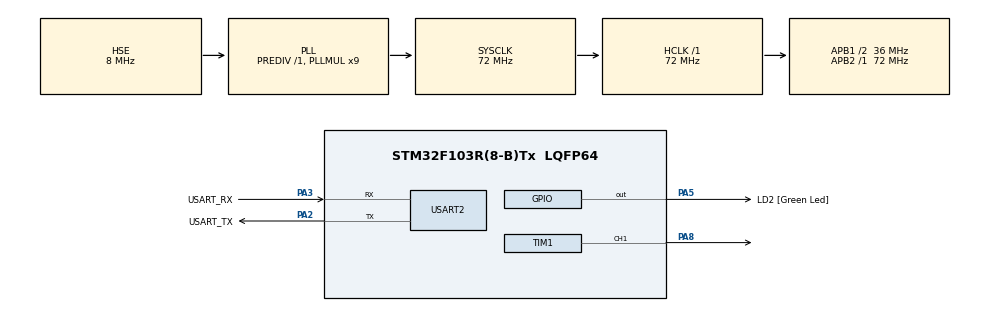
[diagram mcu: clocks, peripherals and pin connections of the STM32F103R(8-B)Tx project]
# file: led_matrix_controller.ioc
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Dma.Request0=TIM1_CH1
Dma.Request1=USART2_RX
Dma.Request2=USART2_TX
Dma.TIM1_CH1.0.Direction=DMA_MEMORY_TO_PERIPH
Dma.TIM1_CH1.0.Instance=DMA1_Channel2
Dma.TIM1_CH1.0.MemDataAlignment=DMA_MDATAALIGN_HALFWORD
Dma.TIM1_CH1.0.MemInc=DMA_MINC_ENABLE
Dma.TIM1_CH1.0.Mode=DMA_NORMAL
Dma.TIM1_CH1.0.PeriphDataAlignment=DMA_PDATAALIGN_HALFWORD
Dma.TIM1_CH1.0.PeriphInc=DMA_PINC_DISABLE
Dma.TIM1_CH1.0.Priority=DMA_PRIORITY_LOW
Dma.USART2_RX.1.Direction=DMA_PERIPH_TO_MEMORY
Dma.USART2_RX.1.Instance=DMA1_Channel6
Dma.USART2_RX.1.MemDataAlignment=DMA_MDATAALIGN_BYTE
Dma.USART2_RX.1.MemInc=DMA_MINC_ENABLE
Dma.USART2_RX.1.Mode=DMA_CIRCULAR
Dma.USART2_RX.1.PeriphDataAlignment=DMA_PDATAALIGN_BYTE
Dma.USART2_RX.1.PeriphInc=DMA_PINC_DISABLE
Dma.USART2_RX.1.Priority=DMA_PRIORITY_LOW
Dma.USART2_TX.2.Direction=DMA_MEMORY_TO_PERIPH
Dma.USART2_TX.2.Instance=DMA1_Channel7
Dma.USART2_TX.2.MemDataAlignment=DMA_MDATAALIGN_BYTE
Dma.USART2_TX.2.MemInc=DMA_MINC_ENABLE
Dma.USART2_TX.2.Mode=DMA_NORMAL
Dma.USART2_TX.2.PeriphDataAlignment=DMA_PDATAALIGN_BYTE
Dma.USART2_TX.2.PeriphInc=DMA_PINC_DISABLE
Dma.USART2_TX.2.Priority=DMA_PRIORITY_LOW
Mcu.Family=STM32F1
Mcu.Name=STM32F103R(8-B)Tx
Mcu.Package=LQFP64
NVIC.DMA1_Channel2_IRQn=true\:0\:0\:false\:false\:true\:false\:true\:true
NVIC.DMA1_Channel6_IRQn=true\:0\:0\:false\:false\:true\:false\:true\:true
NVIC.DMA1_Channel7_IRQn=true\:0\:0\:false\:false\:true\:false\:true\:true
NVIC.PriorityGroup=NVIC_PRIORITYGROUP_4
NVIC.USART2_IRQn=true\:0\:0\:false\:false\:true\:true\:true\:true
PA13.GPIO_Label=TMS
PA13.Mode=Serial_Wire
PA13.Signal=SYS_JTMS-SWDIO
PA14.GPIO_Label=TCK
PA14.Mode=Serial_Wire
PA14.Signal=SYS_JTCK-SWCLK
PA2.GPIO_Label=USART_TX
PA2.GPIO_Mode=GPIO_MODE_AF_PP
PA2.GPIO_PuPd=GPIO_NOPULL
PA2.GPIO_Speed=GPIO_SPEED_FREQ_LOW
PA2.Mode=Asynchronous
PA2.Signal=USART2_TX
PA3.GPIO_Label=USART_RX
PA3.GPIO_Mode=GPIO_MODE_AF_PP
PA3.GPIO_PuPd=GPIO_NOPULL
PA3.GPIO_Speed=GPIO_SPEED_FREQ_LOW
PA3.Mode=Asynchronous
PA3.Signal=USART2_RX
PA5.GPIO_Label=LD2 [Green Led]
PA5.GPIO_ModeDefaultOutputPP=GPIO_MODE_OUTPUT_PP
PA5.GPIO_PuPd=GPIO_NOPULL
PA5.GPIO_Speed=GPIO_SPEED_FREQ_LOW
PA5.Signal=GPIO_Output
PA8.Signal=S_TIM1_CH1
PB3.GPIO_Label=SWO
PB3.Signal=SYS_JTDO-TRACESWO
PC14-OSC32_IN.Mode=LSE-External-Oscillator
PC14-OSC32_IN.Signal=RCC_OSC32_IN
PC15-OSC32_OUT.Mode=LSE-External-Oscillator
PC15-OSC32_OUT.Signal=RCC_OSC32_OUT
PD0-OSC_IN.Mode=HSE-External-Clock-Source
PD0-OSC_IN.Signal=RCC_OSC_IN
PD1-OSC_OUT.Mode=HSE-External-Clock-Source
PD1-OSC_OUT.Signal=RCC_OSC_OUT
ProjectManager.HeapSize=0x200
ProjectManager.StackSize=0x400
ProjectManager.TargetToolchain=Makefile
RCC.AHBFreq_Value=72000000
RCC.APB1CLKDivider=RCC_HCLK_DIV2
RCC.APB1Freq_Value=36000000
RCC.APB1TimFreq_Value=72000000
RCC.APB2Freq_Value=72000000
RCC.APB2TimFreq_Value=72000000
RCC.HCLKFreq_Value=72000000
RCC.PLLMUL=RCC_PLL_MUL9
RCC.PLLSourceVirtual=RCC_PLLSOURCE_HSE
RCC.RTCClockSelection=RCC_RTCCLKSOURCE_LSE
RCC.SYSCLKFreq_VALUE=72000000
RCC.SYSCLKSource=RCC_SYSCLKSOURCE_PLLCLK
RCC.USBFreq_Value=72000000
SH.S_TIM1_CH1.0=TIM1_CH1,PWM Generation1 CH1
TIM1.Channel-PWM\ Generation1\ CH1=TIM_CHANNEL_1
TIM1.Period=90-1
USART2.VirtualMode=VM_ASYNC
VP_TIM1_VS_ClockSourceINT.Mode=Internal
board=NUCLEO-F103RB

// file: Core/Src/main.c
/* USER CODE BEGIN Header */
/**
 ******************************************************************************
 * @file           : main.c
 * @brief          : Main program body
 ******************************************************************************
 * @attention
 *
 * Copyright (c) 2023 STMicroelectronics.
 * All rights reserved.
 *
 * This software is licensed under terms that can be found in the LICENSE file
 * in the root directory of this software component.
 * If no LICENSE file comes with this software, it is provided AS-IS.
 *
 ******************************************************************************
 */
/* USER CODE END Header */
#include "main.h"

/* USER CODE BEGIN Includes */
#include "serial_interface.h"

#include <stdlib.h>
/* USER CODE END Includes */

/* USER CODE BEGIN PD */
#define MAX_LED 2

const uint8_t MATRIX_SHAPE[3] = {16, 4, 4}; // height, width, deptth
const uint8_t TOWERS_SHAPE[2] = {1, 1};     // rows, aisles

// LED data transfer times
#define DUTY_CYCLE 1250 // ns
#define T0H 280         // ns
#define T1H 650         // ns
#define RES 140         // us
/* USER CODE END PD */

TIM_HandleTypeDef htim1;
DMA_HandleTypeDef hdma_tim1_ch1;

UART_HandleTypeDef huart2;
DMA_HandleTypeDef hdma_usart2_rx;
DMA_HandleTypeDef hdma_usart2_tx;

/* USER CODE BEGIN PV */
int quitFlag = 0;

SERIAL_INTERFACE ser;

uint8_t LED_Data[MAX_LED][3];
int dataSentFlag = 0;

// data values
int one;
int zero;
int reset;
/* USER CODE END PV */

void SystemClock_Config(void);
static void MX_GPIO_Init(void);
static void MX_DMA_Init(void);
static void MX_USART2_UART_Init(void);
static void MX_TIM1_Init(void);
/* USER CODE BEGIN PFP */
void SerialInterface_Init(void);
void SerialInterface_Free(void);
void WaitForConnection(void);
void HAL_TIM_PulseFinishedCallback(TIM_HandleTypeDef);
void HAL_UART_RxCpltCallback(UART_HandleTypeDef*);
void Transmit(uint8_t*, uint16_t);
int Transmit_WaitForConfirm(uint8_t*, uint16_t);
void ClearTXBuffer();
void ClearRXBuffer(UART_HandleTypeDef *);
void ProcessCommand(uint8_t *);
void ProcessData(uint8_t *);
void Blink(int);
void SendSpecs(void);
void CalculateDataValues(void);
void PWMSend_LEDs(void);
void Set_LED(uint16_t, uint8_t, uint8_t, uint8_t);
void Set_LEDs(uint8_t, uint8_t, uint8_t);
void Reset_LEDs(void);
/* USER CODE END PFP */

int main(void)
{

  /* MCU Configuration--------------------------------------------------------*/

  /* Reset of all peripherals, Initializes the Flash interface and the Systick. */
  HAL_Init();

  /* Configure the system clock */
  SystemClock_Config();

  /* Initialize all configured peripherals */
  MX_GPIO_Init();
  MX_DMA_Init();
  MX_USART2_UART_Init();
  MX_TIM1_Init();
  /* USER CODE BEGIN 2 */
  CalculateDataValues();
  SerialInterface_Init();

  HAL_UART_Receive_DMA(&huart2, ser.rx_command_buf, ser.command_size);

  WaitForConnection();
  Blink(5);

  /* USER CODE END 2 */

  /* Infinite loop */
  /* USER CODE BEGIN WHILE */
  while (!quitFlag)
  {
    PWMSend_LEDs();
    /* USER CODE END WHILE */

    /* USER CODE BEGIN 3 */
  }

  HAL_UART_DMAStop(&huart2);
  SerialInterface_Free();

  return 0;
  /* USER CODE END 3 */
}

void SystemClock_Config(void)
{
  RCC_OscInitTypeDef RCC_OscInitStruct = {0};
  RCC_ClkInitTypeDef RCC_ClkInitStruct = {0};

  /** Initializes the RCC Oscillators according to the specified parameters
  * in the RCC_OscInitTypeDef structure.
  */
  RCC_OscInitStruct.OscillatorType = RCC_OSCILLATORTYPE_HSE;
  RCC_OscInitStruct.HSEState = RCC_HSE_BYPASS;
  RCC_OscInitStruct.HSEPredivValue = RCC_HSE_PREDIV_DIV1;
  RCC_OscInitStruct.HSIState = RCC_HSI_ON;
  RCC_OscInitStruct.PLL.PLLState = RCC_PLL_ON;
  RCC_OscInitStruct.PLL.PLLSource = RCC_PLLSOURCE_HSE;
  RCC_OscInitStruct.PLL.PLLMUL = RCC_PLL_MUL9;
  if (HAL_RCC_OscConfig(&RCC_OscInitStruct) != HAL_OK)
  {
    Error_Handler();
  }

  /** Initializes the CPU, AHB and APB buses clocks
  */
  RCC_ClkInitStruct.ClockType = RCC_CLOCKTYPE_HCLK|RCC_CLOCKTYPE_SYSCLK
                              |RCC_CLOCKTYPE_PCLK1|RCC_CLOCKTYPE_PCLK2;
  RCC_ClkInitStruct.SYSCLKSource = RCC_SYSCLKSOURCE_PLLCLK;
  RCC_ClkInitStruct.AHBCLKDivider = RCC_SYSCLK_DIV1;
  RCC_ClkInitStruct.APB1CLKDivider = RCC_HCLK_DIV2;
  RCC_ClkInitStruct.APB2CLKDivider = RCC_HCLK_DIV1;

  if (HAL_RCC_ClockConfig(&RCC_ClkInitStruct, FLASH_LATENCY_2) != HAL_OK)
  {
    Error_Handler();
  }
}

static void MX_TIM1_Init(void)
{

  TIM_ClockConfigTypeDef sClockSourceConfig = {0};
  TIM_MasterConfigTypeDef sMasterConfig = {0};
  TIM_OC_InitTypeDef sConfigOC = {0};
  TIM_BreakDeadTimeConfigTypeDef sBreakDeadTimeConfig = {0};

  htim1.Instance = TIM1;
  htim1.Init.Prescaler = 0;
  htim1.Init.CounterMode = TIM_COUNTERMODE_UP;
  htim1.Init.Period = 90-1;
  htim1.Init.ClockDivision = TIM_CLOCKDIVISION_DIV1;
  htim1.Init.RepetitionCounter = 0;
  htim1.Init.AutoReloadPreload = TIM_AUTORELOAD_PRELOAD_DISABLE;
  if (HAL_TIM_Base_Init(&htim1) != HAL_OK)
  {
    Error_Handler();
  }
  sClockSourceConfig.ClockSource = TIM_CLOCKSOURCE_INTERNAL;
  if (HAL_TIM_ConfigClockSource(&htim1, &sClockSourceConfig) != HAL_OK)
  {
    Error_Handler();
  }
  if (HAL_TIM_PWM_Init(&htim1) != HAL_OK)
  {
    Error_Handler();
  }
  sMasterConfig.MasterOutputTrigger = TIM_TRGO_RESET;
  sMasterConfig.MasterSlaveMode = TIM_MASTERSLAVEMODE_DISABLE;
  if (HAL_TIMEx_MasterConfigSynchronization(&htim1, &sMasterConfig) != HAL_OK)
  {
    Error_Handler();
  }
  sConfigOC.OCMode = TIM_OCMODE_PWM1;
  sConfigOC.Pulse = 0;
  sConfigOC.OCPolarity = TIM_OCPOLARITY_HIGH;
  sConfigOC.OCNPolarity = TIM_OCNPOLARITY_HIGH;
  sConfigOC.OCFastMode = TIM_OCFAST_DISABLE;
  sConfigOC.OCIdleState = TIM_OCIDLESTATE_RESET;
  sConfigOC.OCNIdleState = TIM_OCNIDLESTATE_RESET;
  if (HAL_TIM_PWM_ConfigChannel(&htim1, &sConfigOC, TIM_CHANNEL_1) != HAL_OK)
  {
    Error_Handler();
  }
  sBreakDeadTimeConfig.OffStateRunMode = TIM_OSSR_DISABLE;
  sBreakDeadTimeConfig.OffStateIDLEMode = TIM_OSSI_DISABLE;
  sBreakDeadTimeConfig.LockLevel = TIM_LOCKLEVEL_OFF;
  sBreakDeadTimeConfig.DeadTime = 0;
  sBreakDeadTimeConfig.BreakState = TIM_BREAK_DISABLE;
  sBreakDeadTimeConfig.BreakPolarity = TIM_BREAKPOLARITY_HIGH;
  sBreakDeadTimeConfig.AutomaticOutput = TIM_AUTOMATICOUTPUT_DISABLE;
  if (HAL_TIMEx_ConfigBreakDeadTime(&htim1, &sBreakDeadTimeConfig) != HAL_OK)
  {
    Error_Handler();
  }
  HAL_TIM_MspPostInit(&htim1);

}

static void MX_USART2_UART_Init(void)
{

  huart2.Instance = USART2;
  huart2.Init.BaudRate = 115200;
  huart2.Init.WordLength = UART_WORDLENGTH_8B;
  huart2.Init.StopBits = UART_STOPBITS_1;
  huart2.Init.Parity = UART_PARITY_NONE;
  huart2.Init.Mode = UART_MODE_TX_RX;
  huart2.Init.HwFlowCtl = UART_HWCONTROL_NONE;
  huart2.Init.OverSampling = UART_OVERSAMPLING_16;
  if (HAL_UART_Init(&huart2) != HAL_OK)
  {
    Error_Handler();
  }

}

static void MX_DMA_Init(void)
{

  /* DMA controller clock enable */
  __HAL_RCC_DMA1_CLK_ENABLE();

  /* DMA interrupt init */
  /* DMA1_Channel2_IRQn interrupt configuration */
  HAL_NVIC_SetPriority(DMA1_Channel2_IRQn, 0, 0);
  HAL_NVIC_EnableIRQ(DMA1_Channel2_IRQn);
  /* DMA1_Channel6_IRQn interrupt configuration */
  HAL_NVIC_SetPriority(DMA1_Channel6_IRQn, 0, 0);
  HAL_NVIC_EnableIRQ(DMA1_Channel6_IRQn);
  /* DMA1_Channel7_IRQn interrupt configuration */
  HAL_NVIC_SetPriority(DMA1_Channel7_IRQn, 0, 0);
  HAL_NVIC_EnableIRQ(DMA1_Channel7_IRQn);

}

static void MX_GPIO_Init(void)
{
  GPIO_InitTypeDef GPIO_InitStruct = {0};

  /* GPIO Ports Clock Enable */
  __HAL_RCC_GPIOC_CLK_ENABLE();
  __HAL_RCC_GPIOD_CLK_ENABLE();
  __HAL_RCC_GPIOA_CLK_ENABLE();
  __HAL_RCC_GPIOB_CLK_ENABLE();

  /*Configure GPIO pin Output Level */
  HAL_GPIO_WritePin(LD2_GPIO_Port, LD2_Pin, GPIO_PIN_RESET);

  /*Configure GPIO pin : LD2_Pin */
  GPIO_InitStruct.Pin = LD2_Pin;
  GPIO_InitStruct.Mode = GPIO_MODE_OUTPUT_PP;
  GPIO_InitStruct.Pull = GPIO_NOPULL;
  GPIO_InitStruct.Speed = GPIO_SPEED_FREQ_LOW;
  HAL_GPIO_Init(LD2_GPIO_Port, &GPIO_InitStruct);

}

/* USER CODE BEGIN 4 */
void SerialInterface_Init()
{
  ser.connected_flag = RESET;
  ser.expect_cmd_flag = SET;
  ser.expect_conf_flag = RESET;
  ser.confirm_flag = RESET;

  ser.last_cmd = CONFIRM;

  ser.command_size = 6;
  uint8_t *_rx_command = (uint8_t *)malloc(ser.command_size * sizeof(uint8_t));
  ser.rx_command_buf = _rx_command;
  uint8_t *_tx_command = (uint8_t *)malloc(ser.command_size * sizeof(uint8_t));
  ser.tx_command_buf = _tx_command;

  ser.data_size = sizeof(uint8_t) * 3 * MAX_LED;
  uint8_t *_rx_data = (uint8_t *)malloc(ser.data_size);
  ser.rx_data_buf = _rx_data;
}

void SerialInterface_Free()
{
  free(ser.rx_command_buf);
  free(ser.tx_command_buf);
  free(ser.rx_data_buf);
}

void HAL_TIM_PWM_PulseFinishedCallback(TIM_HandleTypeDef *htim)
{
  HAL_TIM_PWM_Stop_DMA(&htim1, TIM_CHANNEL_1);
  dataSentFlag = 1;
}

void HAL_UART_RxCpltCallback(UART_HandleTypeDef *huart)
{
  HAL_UART_DMAStop(huart);

  // char msg[10] = "received\n\r";
  // Transmit(msg, sizeof(msg));

  if (ser.expect_conf_flag == SET)
  {
    ser.expect_conf_flag = RESET;
    ClearRXBuffer(huart);
    HAL_UART_Receive_DMA(huart, ser.rx_command_buf, ser.command_size);
    return;
  }

  if (ser.expect_cmd_flag == SET)
  {
    ProcessCommand(ser.rx_command_buf);
  }
  else
  {
    ProcessData(ser.rx_data_buf);
  }

  ClearRXBuffer(huart);

  if (ser.last_cmd != SEND)
  {
    Transmit(ser.tx_command_buf, ser.command_size);
  }
}

int WaitForConfirm()
{
  ser.expect_conf_flag = SET;
  HAL_UART_DMAStop(&huart2);
  HAL_UART_Receive_DMA(&huart2, ser.rx_command_buf, ser.command_size);
  __HAL_UART_CLEAR_FLAG(&huart2, UART_FLAG_RXNE);
  while(__HAL_UART_GET_FLAG(&huart2, UART_FLAG_RXNE) != 1);
  uint8_t confirm = ser.rx_command_buf[0];

  ClearRXBuffer(&huart2);

  if (confirm == CONFIRM) return 1;
  return 0;
}

void Transmit(uint8_t *pData, uint16_t Size)
{
  HAL_UART_Transmit_DMA(&huart2, pData, Size);
  __HAL_UART_CLEAR_FLAG(&huart2, UART_FLAG_TC);
  while (__HAL_UART_GET_FLAG(&huart2, UART_FLAG_TC) != 1);
  ClearTXBuffer();
}

void ProcessCommand(uint8_t *rx_command)
{
  uint8_t cmd = rx_command[0];
  uint8_t r = rx_command[1];
  uint8_t g = rx_command[2];
  uint8_t b = rx_command[3];
  uint16_t led = (uint16_t)rx_command[4] << 4 | rx_command[5];

  ClearTXBuffer();
  ser.tx_command_buf[0] = CONFIRM;

  switch (cmd)
  {
  case RECEIVE:
    ser.expect_cmd_flag = RESET;
    break;

  case SEND:
    SendSpecs();
    break;

  case SET:
    Set_LED(led, r, g, b);
    break;

  case SET_ALL:
    Set_LEDs(r, g, b);
    break;

  case RESET:
    Reset_LEDs();
    break;

  case QUIT:
    quitFlag = 1;
    break;

  case CONFIRM:
    break;
  case ERROR:
    break;

  default:
    ser.tx_command_buf[0] = ERROR;
    break;
  }

  ser.last_cmd = cmd;

  if (ser.expect_cmd_flag == SET)
  {
    HAL_UART_Receive_DMA(&huart2, ser.rx_command_buf, ser.command_size);
  }
  else
  {
    HAL_UART_Receive_DMA(&huart2, ser.rx_data_buf, ser.data_size);
  }
}

void ProcessData(uint8_t *rx_data)
{
  for (uint16_t i = 0; i < MAX_LED; i++)
  {
    Set_LED(i, rx_data[i * 3], rx_data[i * 3 + 1], rx_data[i * 3 + 2]);
  }

  ser.expect_cmd_flag = SET;
  ClearTXBuffer();
  ser.tx_command_buf[0] = CONFIRM;

  HAL_UART_Receive_DMA(&huart2, ser.rx_command_buf, ser.command_size);
}

void ClearTXBuffer()
{
  for (int i = 0; i < ser.command_size; i++)
  {
    ser.tx_command_buf[i] = 0;
  }
}

void ClearRXBuffer(UART_HandleTypeDef *huart)
{
  huart->RxXferCount = 0;
  huart->RxXferSize = 0;
  huart->pRxBuffPtr = NULL;
}

void Blink(int n)
{
  for (int i = 0; i < n * 2; i++)
  {
    HAL_GPIO_TogglePin(GPIOA, LD2_Pin);
    HAL_Delay(100);
  }
}

void WaitForConnection()
{
  int conf = WaitForConfirm();
  if (conf == 1)
  {
    ClearTXBuffer();
    ser.tx_command_buf[0] = CONFIRM;
    char msg[] = "connected\n\r";
    Transmit(msg, 50);
    ser.connected_flag = SET;
    return;
  }
}

void SendSpecs()
{
  uint8_t tx_specs[6];
  tx_specs[0] = MATRIX_SHAPE[0]; // matrix height
  tx_specs[1] = MATRIX_SHAPE[1]; // matrix width
  tx_specs[2] = MATRIX_SHAPE[2]; // matrix depth
  tx_specs[3] = TOWERS_SHAPE[0]; // rows of towers
  tx_specs[4] = TOWERS_SHAPE[1]; // ailes of towers

  for (int i = 0; i < ser.command_size; i++)
  {
    ser.tx_command_buf[i] = tx_specs[i];
  }

  Transmit(ser.tx_command_buf, ser.command_size);
  int conf = WaitForConfirm();

  if (conf != 1)
  {
    SendSpecs();
  }
}

void CalculateDataValues()
{
  int HCLKfreq = HAL_RCC_GetHCLKFreq() / 1000000; // in MHz

  int ARR = 0;
  float cycledt = 1 / (float)HCLKfreq * (float)ARR * 1000; // in ns
  while (cycledt < DUTY_CYCLE)
  {
    ARR++;
    cycledt = 1 / (float)HCLKfreq * (float)ARR * 1000;
  }
  __HAL_TIM_SET_AUTORELOAD(&htim1, ARR - 1);

  one = 0;
  float onedt = ((float)one / (float)ARR) * cycledt;
  while (onedt < T1H)
  {
    one++;
    onedt = ((float)one / (float)ARR) * cycledt;
  }

  zero = 0;
  float zerodt = ((float)zero / (float)ARR) * cycledt;
  while (zerodt < T0H)
  {
    zero++;
    zerodt = ((float)zero / (float)ARR) * cycledt;
  }

  reset = 0;
  float cyclems = (float)cycledt / 1000;
  while (cyclems * reset <= RES)
  {
    reset++;
  }
}

void PWMSend_LEDs()
{
  uint16_t *pwmData = (uint16_t *)malloc(sizeof(uint16_t) * (24 * MAX_LED + reset));
  uint32_t index = 0;
  uint32_t color;

  for (int i = 0; i < MAX_LED; i++)
  {
    color = ((LED_Data[i][0] << 16) | (LED_Data[i][1] << 8) | (LED_Data[i][2]));

    for (int j = 23; j >= 0; j--)
    {
      if (color & (1 << j))
      {
        pwmData[index] = one;
      }
      else
      {
        pwmData[index] = zero;
      }

      index++;
    }
  }

  for (int i = 0; i < reset; i++)
  {
    pwmData[index] = 0;
    index++;
  }

  HAL_TIM_PWM_Start_DMA(&htim1, TIM_CHANNEL_1, (uint32_t *)pwmData, index);
  free(pwmData);

  while (!dataSentFlag)
    ;
  dataSentFlag = 0;
}

void Set_LED(uint16_t no, uint8_t r, uint8_t g, uint8_t b)
{
  LED_Data[no][0] = r;
  LED_Data[no][1] = g;
  LED_Data[no][2] = b;
}

void Set_LEDs(uint8_t r, uint8_t g, uint8_t b)
{
  for (int i = 0; i < MAX_LED; i++)
  {
    Set_LED(i, r, g, b);
  }
}

void Reset_LEDs()
{
  Set_LEDs(0, 0, 0);
}

/* USER CODE END 4 */

void Error_Handler(void)
{
  __disable_irq();
  while (1)
  {
  }
}
